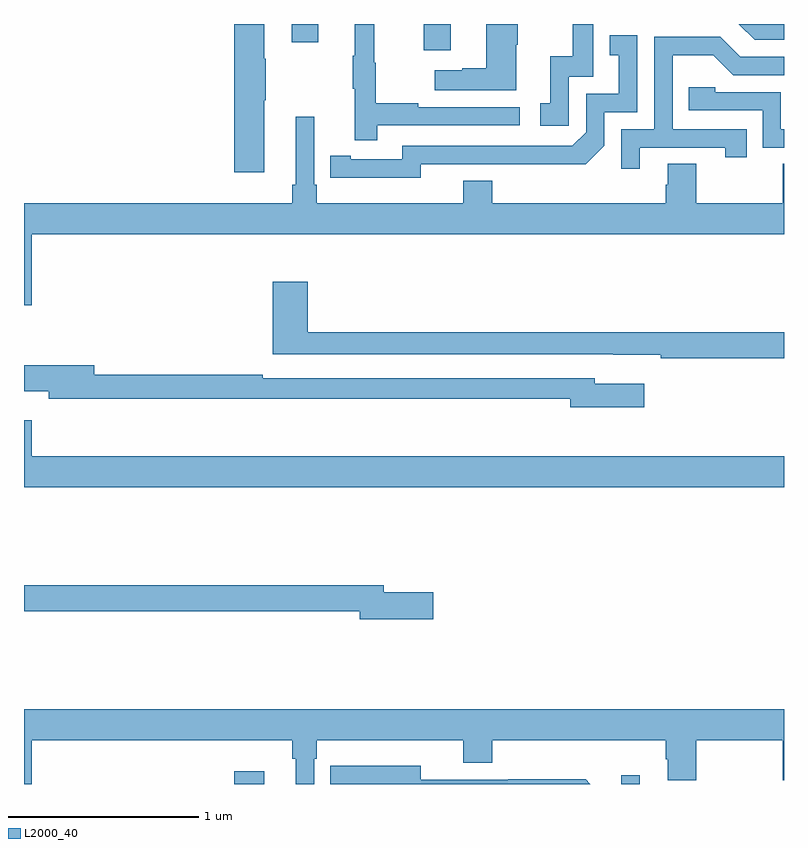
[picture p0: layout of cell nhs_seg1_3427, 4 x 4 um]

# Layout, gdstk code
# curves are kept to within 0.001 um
import gdstk
lib = gdstk.Library(unit=1e-6, precision=1e-09)
def R(c, l, rs):  # rectangles x0, y0, x1, y1
    for r in rs: c.add(gdstk.rectangle(r[:2], r[2:], *l))
def P(c, l, *ps):  # polygons
    for p in ps: c.add(gdstk.Polygon(p, *l))
L2000_40 = (2000, 40)

nhs_seg1_3427 = lib.new_cell('nhs_seg1_3427')
R(nhs_seg1_3427, L2000_40, [(298.106,522.199,298.264,522.265), (300.144,522.199,300.241,522.246), (299.105,526.062,299.245,526.199), (298.409,526.104,298.549,526.199)])
P(nhs_seg1_3427, L2000_40, [(298.859,525.666),(299.608,525.666),(299.608,525.762),(299.075,525.762),(299.075,525.782),(298.852,525.782),(298.852,525.996),(298.844,525.996),(298.844,526.199),(298.742,526.199),(298.742,526.033),(298.731,526.033),(298.731,525.859),(298.742,525.859),(298.742,525.588),(298.859,525.588)],
  [(299.59,526.091),(299.598,526.091),(299.598,526.199),(299.432,526.199),(299.432,525.965),(299.306,525.965),(299.306,525.955),(299.163,525.955),(299.163,525.851),(299.59,525.851)],
  [(298.264,525.799),(298.272,525.799),(298.272,526.016),(298.264,526.016),(298.264,526.199),(298.106,526.199),(298.106,525.42),(298.264,525.42)],
  [(301,526.199),(300.763,526.199),(300.846,526.116),(301,526.116)],
  [(299.868,525.921),(299.997,525.921),(299.997,526.199),(299.889,526.199),(299.889,526.03),(299.771,526.03),(299.771,525.783),(299.718,525.783),(299.718,525.663),(299.868,525.663)],
  [(299.088,525.462),(299.956,525.461),(300.054,525.558),(300.054,525.735),(300.228,525.735),(300.228,526.141),(300.082,526.141),(300.082,526.035),(300.131,526.035),(300.131,525.831),(299.958,525.831),(299.958,525.63),(299.886,525.558),(298.992,525.558),(298.992,525.486),(298.72,525.486),(298.72,525.506),(298.612,525.506),(298.612,525.39),(299.088,525.389)],
  [(300.241,525.549),(300.692,525.549),(300.692,525.498),(300.803,525.498),(300.803,525.645),(300.414,525.645),(300.414,526.034),(300.628,526.034),(300.732,525.93),(301,525.93),(301,526.026),(300.769,526.026),(300.664,526.131),(300.318,526.131),(300.318,525.645),(300.144,525.645),(300.144,525.438),(300.241,525.438)],
  [(301,525.645),(300.984,525.645),(300.984,525.84),(300.639,525.84),(300.639,525.867),(300.499,525.867),(300.499,525.744),(300.888,525.744),(300.888,525.549),(301,525.549)],
  [(301,525.464),(300.994,525.464),(300.994,525.256),(300.537,525.256),(300.537,525.464),(300.389,525.464),(300.389,525.354),(300.377,525.354),(300.377,525.256),(299.465,525.256),(299.465,525.373),(299.312,525.373),(299.312,525.256),(298.541,525.256),(298.541,525.352),(298.527,525.352),(298.527,525.712),(298.43,525.712),(298.43,525.352),(298.411,525.352),(298.411,525.256),(297,525.256),(297,524.718),(297.04,524.718),(297.04,525.092),(301,525.092)],
  [(301,524.576),(298.493,524.576),(298.493,524.842),(298.31,524.842),(298.31,524.46),(300.1,524.46),(300.1,524.459),(300.352,524.459),(300.352,524.44),(301,524.44)],
  [(300.265,524.305),(300.004,524.305),(300.004,524.334),(298.256,524.334),(298.256,524.354),(297.37,524.354),(297.37,524.402),(297,524.402),(297,524.267),(297.131,524.267),(297.131,524.226),(299.876,524.226),(299.876,524.183),(300.265,524.183)],
  [(301,523.924),(297.04,523.924),(297.04,524.113),(297,524.113),(297,523.76),(301,523.76)],
  [(299.155,523.208),(298.894,523.208),(298.894,523.244),(297,523.244),(297,523.108),(298.766,523.108),(298.766,523.066),(299.155,523.066)],
  [(297.04,522.428),(298.411,522.428),(298.411,522.332),(298.43,522.332),(298.43,522.199),(298.527,522.199),(298.527,522.332),(298.541,522.332),(298.541,522.428),(299.312,522.428),(299.312,522.311),(299.465,522.311),(299.465,522.428),(300.377,522.428),(300.377,522.33),(300.389,522.33),(300.389,522.22),(300.537,522.22),(300.537,522.428),(300.994,522.428),(300.994,522.22),(301,522.22),(301,522.592),(297,522.592),(297,522.199),(297.04,522.199)],
  [(299.956,522.224),(299.548,522.224),(299.548,522.222),(299.088,522.222),(299.088,522.295),(298.72,522.295),(298.72,522.294),(298.612,522.294),(298.612,522.199),(299.981,522.199)])

lib.write_gds('nhs_seg1_3427.gds')
